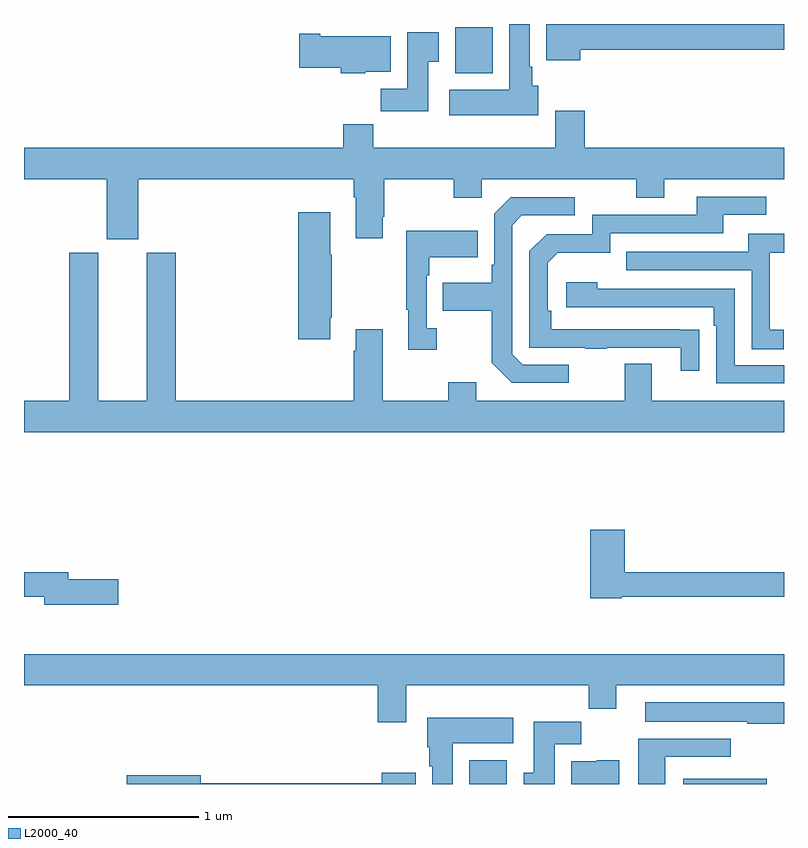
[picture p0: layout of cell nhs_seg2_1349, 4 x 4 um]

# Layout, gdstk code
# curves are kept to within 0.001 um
import gdstk
lib = gdstk.Library(unit=1e-6, precision=1e-09)
def R(c, l, rs):  # rectangles x0, y0, x1, y1
    for r in rs: c.add(gdstk.rectangle(r[:2], r[2:], *l))
def P(c, l, *ps):  # polygons
    for p in ps: c.add(gdstk.Polygon(p, *l))
L2000_40 = (2000, 40)

nhs_seg2_1349 = lib.new_cell('nhs_seg2_1349')
R(nhs_seg2_1349, L2000_40, [(183.344,629.8,183.541,629.926), (184.469,629.8,184.909,629.827), (183.269,633.542,183.466,633.784)])
P(nhs_seg2_1349, L2000_40, [(183.706,633.474),(183.676,633.474),(183.676,633.574),(183.661,633.574),(183.661,633.8),(183.554,633.8),(183.554,633.454),(183.237,633.454),(183.237,633.32),(183.706,633.32)],
  [(183.928,633.664),(185,633.664),(185,633.8),(183.749,633.8),(183.749,633.608),(183.928,633.608)],
  [(183.127,633.601),(183.184,633.601),(183.184,633.757),(183.017,633.757),(183.017,633.46),(182.878,633.46),(182.878,633.342),(183.127,633.342)],
  [(182.796,633.548),(182.929,633.548),(182.929,633.736),(182.56,633.736),(182.56,633.749),(182.448,633.749),(182.448,633.571),(182.666,633.571),(182.666,633.542),(182.796,633.542)],
  [(182.837,633.272),(182.681,633.272),(182.681,633.148),(181,633.148),(181,632.984),(181.436,632.984),(181.436,632.667),(181.6,632.667),(181.6,632.984),(182.735,632.984),(182.735,632.888),(182.747,632.888),(182.747,632.673),(182.887,632.673),(182.887,632.785),(182.895,632.785),(182.895,632.984),(183.262,632.984),(183.262,632.885),(183.408,632.885),(183.408,632.984),(184.222,632.984),(184.222,632.885),(184.369,632.885),(184.369,632.984),(185,632.984),(185,633.148),(183.95,633.148),(183.95,633.343),(183.797,633.343),(183.797,633.148),(182.837,633.148)],
  [(184.553,632.192),(183.776,632.193),(183.776,632.29),(183.756,632.29),(183.756,632.544),(183.809,632.597),(184.086,632.597),(184.086,632.7),(184.681,632.7),(184.681,632.796),(184.906,632.796),(184.906,632.892),(184.541,632.892),(184.541,632.796),(183.99,632.796),(183.99,632.694),(183.75,632.694),(183.66,632.604),(183.66,632.097),(183.955,632.097),(183.955,632.092),(184.067,632.092),(184.067,632.097),(184.457,632.097),(184.457,631.974),(184.553,631.974)],
  [(183.868,632.007),(183.624,632.007),(183.57,632.061),(183.57,632.742),(183.621,632.793),(183.898,632.793),(183.898,632.889),(183.561,632.889),(183.474,632.802),(183.474,632.533),(183.462,632.533),(183.462,632.437),(183.205,632.437),(183.205,632.29),(183.462,632.29),(183.462,632.017),(183.567,631.911),(183.868,631.911)],
  [(182.611,632.254),(182.619,632.254),(182.619,632.585),(182.611,632.585),(182.611,632.809),(182.444,632.809),(182.444,632.142),(182.611,632.142)],
  [(183.172,632.198),(183.12,632.198),(183.12,632.477),(183.133,632.477),(183.133,632.573),(183.389,632.573),(183.389,632.713),(183.012,632.713),(183.012,632.297),(183.023,632.297),(183.023,632.085),(183.172,632.085)],
  [(184.999,632.19),(184.926,632.19),(184.926,632.595),(185,632.595),(185,632.695),(184.811,632.695),(184.811,632.601),(184.171,632.601),(184.171,632.505),(184.83,632.505),(184.83,632.089),(184.999,632.089)],
  [(185,631.816),(184.303,631.816),(184.303,632.011),(184.163,632.011),(184.163,631.816),(183.379,631.816),(183.379,631.915),(183.232,631.915),(183.232,631.816),(182.887,631.816),(182.887,632.194),(182.747,632.194),(182.747,632.081),(182.735,632.081),(182.735,631.816),(181.799,631.816),(181.799,632.595),(181.646,632.595),(181.646,631.816),(181.39,631.816),(181.39,632.595),(181.238,632.595),(181.238,631.816),(181,631.816),(181,631.652),(185,631.652)],
  [(185,632.004),(184.74,632.004),(184.74,632.406),(184.016,632.406),(184.016,632.44),(183.855,632.44),(183.855,632.31),(184.631,632.31),(184.631,632.213),(184.644,632.213),(184.644,631.908),(185,631.908)],
  [(184.146,630.786),(185,630.786),(185,630.914),(184.163,630.914),(184.163,631.138),(183.98,631.138),(183.98,630.778),(184.146,630.778)],
  [(181.495,630.878),(181.234,630.878),(181.234,630.914),(181,630.914),(181,630.786),(181.106,630.786),(181.106,630.743),(181.495,630.743)],
  [(183.013,630.32),(183.973,630.32),(183.973,630.196),(184.117,630.196),(184.117,630.32),(185,630.32),(185,630.484),(181,630.484),(181,630.32),(182.861,630.32),(182.861,630.126),(183.013,630.126)],
  [(185,630.229),(184.269,630.229),(184.269,630.128),(184.807,630.128),(184.807,630.118),(185,630.118)],
  [(183.256,630.014),(183.574,630.014),(183.574,630.148),(183.122,630.148),(183.122,629.994),(183.134,629.994),(183.134,629.894),(183.149,629.894),(183.149,629.8),(183.256,629.8)],
  [(183.793,630.008),(183.932,630.008),(183.932,630.127),(183.683,630.127),(183.683,629.86),(183.629,629.86),(183.629,629.8),(183.793,629.8)],
  [(184.375,629.943),(184.72,629.943),(184.72,630.039),(184.232,630.039),(184.232,629.8),(184.375,629.8)],
  [(184.132,629.926),(184.014,629.926),(184.014,629.92),(183.881,629.92),(183.881,629.8),(184.132,629.8)],
  [(183.061,629.86),(182.882,629.86),(182.882,629.804),(181.93,629.804),(181.93,629.847),(181.542,629.847),(181.542,629.8),(183.061,629.8)])

lib.write_gds('nhs_seg2_1349.gds')
